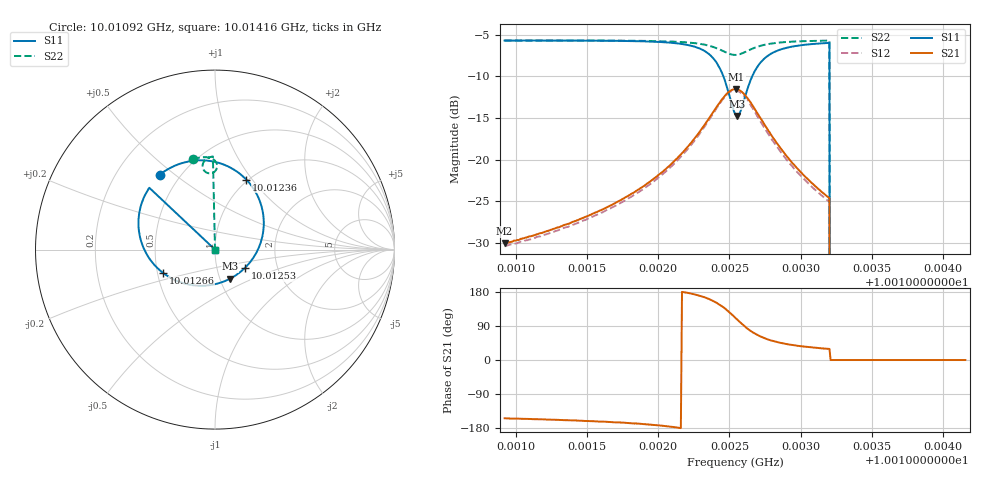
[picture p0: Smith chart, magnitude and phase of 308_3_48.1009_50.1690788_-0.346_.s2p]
#  HZ  S  RI  R  50.00
! Rohde & Schwarz Vector Network Analyzer
! Rohde-Schwarz,ZNB20-2Port,1311601062101988,3.16
! Created: UTC 12/23/2023, 4:05:29 AM
! freq[Hz]  re:S11  im:S11  re:S21  im:S21  re:S12  im:S12  re:S22  im:S22
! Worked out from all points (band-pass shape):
!   401 points, 10.01092 GHz to 10.01416 GHz, reference 50 ohm
!   highest |S21| = -11.54 dB at 10.01255 GHz (marker M1); lowest = -30.1 dB at 10.01092 GHz (marker M2)
!   |S21| within 3 dB of the highest: 10.01238 GHz to 10.0127 GHz (323.8 kHz wide, 0.00323 % of centre)
!   lowest |S11| = -14.8 dB at 10.01256 GHz (marker M3), VSWR 1.45, Z = 55.7 - j18.8 ohm
!   |S11| at or under -10 dB: 10.01246 GHz to 10.01266 GHz (202.3 kHz wide, 0.00202 % of centre); 10.0132 GHz to end of sweep
!   |S22| runs from - to -5.7 dB; largest |S21 - S12| = 0.013
!   S11 on the Smith chart (normalised r, x): 10.01092 GHz: 0.39, +0.44; 10.01236 GHz: 0.98, +0.94; 10.01253 GHz: 1.37, -0.29; 10.01266 GHz: 0.54, -0.15; 10.01416 GHz: 1.00, +0.00
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1.0010923e10  -0.3076 0.4184  -0.0281 -0.0139  -0.0262 -0.0148  -0.1238 0.5049
1.0011464e10  -0.2486 0.4553  -0.0416 -0.0149  -0.0392 -0.0164  -0.0855 0.5126
1.0012005e10  -0.1201 0.4952  -0.0805 -0.0105  -0.0768 -0.0148  -0.0385 0.5137
1.001224e10  0.0305 0.4802  -0.1283 0.0123  -0.1252 0.00433  -0.00904 0.503
1.0012361e10  0.1747 0.3897  -0.1685 0.0608  -0.1679 0.0501  0.00816 0.4825
1.001241e10  0.2367 0.3009  -0.1806 0.1003  -0.1833 0.089  0.0118 0.4669
1.0012466e10  0.2716 0.133  -0.1756 0.1642  -0.18 0.1556  0.00601 0.4444
1.0012498e10  0.2444 0.0117  -0.1519 0.2063  -0.1583 0.1973  -0.00457 0.4326
1.0012531e10  0.1672 -0.1018  -0.1116 0.2397  -0.1188 0.2316  -0.0207 0.4255
1.0012539e10  0.1425 -0.1236  -0.1001 0.2453  -0.1061 0.2381  -0.0256 0.4248
1.0012547e10  0.1128 -0.1454  -0.0875 0.2501  -0.0936 0.2427  -0.03 0.4247
1.0012555e10  0.0828 -0.1628  -0.0748 0.2531  -0.0814 0.2461  -0.0344 0.425
1.0012604e10  -0.1135 -0.1998  0.00115 0.247  -0.00412 0.2401  -0.0574 0.4369
1.001266e10  -0.2898 -0.1294  0.0597 0.2041  0.052 0.1977  -0.0686 0.4589
1.0012717e10  -0.3814 -0.0241  0.0828 0.1573  0.0747 0.1527  -0.0676 0.4779
1.0012789e10  -0.4222 0.0916  0.0877 0.1114  0.0795 0.109  -0.0594 0.4942
1.0012919e10  -0.4187 0.2216  0.0761 0.066  0.0698 0.0653  -0.0422 0.5087
1.001308e10  -0.3883 0.3066  0.0604 0.0391  0.0555 0.0399  -0.0238 0.5162
1.0013185e10  -0.3689 0.3403  0.052 0.0299  0.0481 0.0307  -0.0133 0.5186
1.0013226e10  0 0  0 0  0 0  0 0
1.0013622e10  0 0  0 0  0 0  0 0
1.0014155e10  0 0  0 0  0 0  0 0
